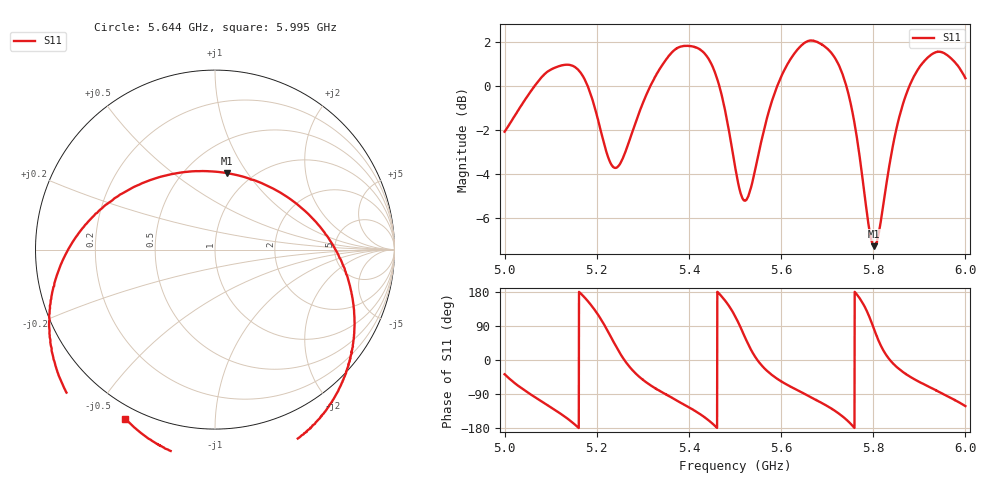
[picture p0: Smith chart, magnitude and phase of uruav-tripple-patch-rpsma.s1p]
# HZ S RI R 50
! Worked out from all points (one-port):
!   2020 points, 5 GHz to 6 GHz, reference 50 ohm
!   lowest |S11| = -7.3 dB at 5.802 GHz (marker M1), VSWR 2.52, Z = 38.5 + j40.3 ohm
!   |S11| at or under -10 dB: nowhere
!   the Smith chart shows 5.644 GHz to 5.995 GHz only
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5e9  0.6234 -0.48
5.066865e9  -0.1523 -0.9946
5.12531e9  -0.9134 -0.641
5.166419e9  -1.062 0.1135
5.20208e9  -0.4301 0.7244
5.223378e9  0.1527 0.6774
5.250124e9  0.6303 0.2068
5.277365e9  0.703 -0.3531
5.313026e9  0.4348 -0.8822
5.375434e9  -0.3816 -1.161
5.414067e9  -0.8662 -0.8682
5.449728e9  -1.086 -0.2645
5.473502e9  -0.8954 0.2533
5.500248e9  -0.2793 0.5912
5.528975e9  0.4241 0.3671
5.554235e9  0.7162 -0.1135
5.584448e9  0.6927 -0.656
5.625062e9  0.3397 -1.121
5.657256e9  -0.0777 -1.263
5.687965e9  -0.4928 -1.145
5.725112e9  -0.8714 -0.7002
5.750372e9  -0.8963 -0.2038
5.779099e9  -0.4872 0.3294
5.801883e9  0.0647 0.4262
5.837049e9  0.6785 -0.0133
5.875186e9  0.7426 -0.6395
5.94007e9  0.1543 -1.187
6.000001e9  -0.5471 -0.8871
